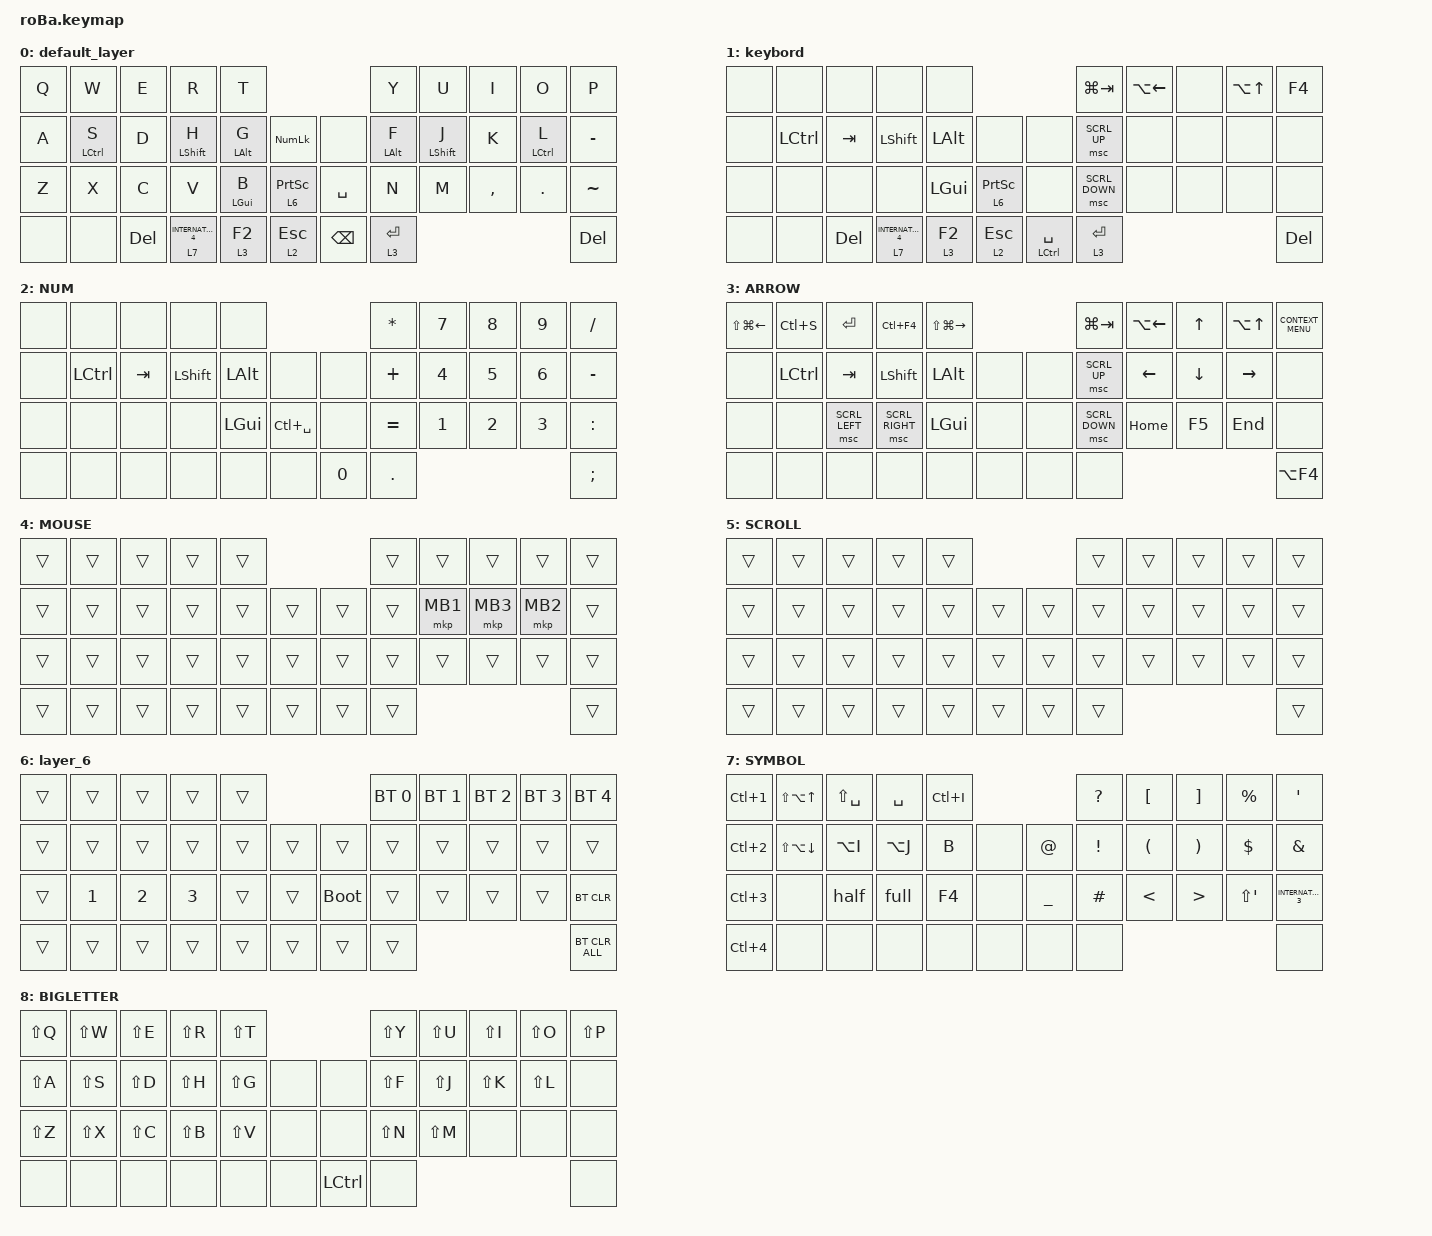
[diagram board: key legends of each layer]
#include <behaviors.dtsi>
#include <dt-bindings/zmk/bt.h>
#include <dt-bindings/zmk/keys.h>
#include <dt-bindings/zmk/pointing.h>

&mt {
    flavor = "balanced";
    quick-tap-ms = <0>;
};

&trackball {
    automouse-layer = <4>;
    scroll-layers = <5>;

    // arrows {
    //     layers = <3>;
    //     bindings =
    //         <&kp RIGHT_ARROW>,
    //         <&kp LEFT_ARROW>,
    //         <&kp UP_ARROW>,
    //         <&kp DOWN_ARROW>;
    //     tick = <10>;
    //     wait-ms = <5>;
    //     tap-ms = <5>;
    // };
};

/ {
    combos {
        compatible = "zmk,combos";

        tab {
            bindings = <&kp F7>;
            key-positions = <0 1>;
        };

        shift_tab {
            bindings = <&kp F8>;
            key-positions = <3 4>;
        };
    };

    macros {
        half: to_layer_0 {
            compatible = "zmk,behavior-macro";
            #binding-cells = <0>;
            bindings = <&to 0 &kp F14>;
            label = "TO_LAYER_0";
        };

        full: new_macro {
            compatible = "zmk,behavior-macro";
            #binding-cells = <0>;
            bindings = <&to 0 &kp F13>;
            label = "NEW_MACRO";
        };

        to_1lay: new_mac {
            compatible = "zmk,behavior-macro";
            #binding-cells = <0>;
            bindings = <&to 1 &kp F14>;
            label = "NEW_MAC";
        };
    };

    behaviors {
        lt_to_layer_0: lt_to_layer_0 {
            compatible = "zmk,behavior-hold-tap";
            label = "LAYER_TAP_TO_0";
            bindings = <&mo>, <&half>;

            #binding-cells = <2>;
            tapping-term-ms = <200>;
        };
    };

    keymap {
        compatible = "zmk,keymap";

        default_layer {
            bindings = <
&kp Q  &kp W        &kp E       &kp R                  &kp T                                              &kp Y           &kp U         &kp I      &kp O        &kp P
&kp A  &mt LCTRL S  &kp D       &mt LEFT_SHIFT H       &mt LEFT_ALT G  &kp KP_NUMLOCK      &none          &mt LEFT_ALT F  &mt LSHIFT J  &kp K      &mt LCTRL L  &kp MINUS
&kp Z  &kp X        &kp C       &kp V                  &mt LEFT_GUI B  &lt 6 PSCRN         &kp SPACE      &kp N           &kp M         &kp COMMA  &kp DOT      &kp TILDE
&none  &none        &kp DELETE  &lt 7 INTERNATIONAL_4  &lt 3 F2        &lt 2 ESC           &kp BACKSPACE  &lt 3 ENTER                                           &kp DEL
            >;
        };

        keybord {
            bindings = <
&none  &none      &none       &none                  &none                                       &kp LG(TAB)     &kp LA(LEFT)  &none  &kp LA(UP)  &kp F4
&none  &kp LCTRL  &kp TAB     &kp LSHFT              &kp LALT  &none            &none            &msc SCRL_UP    &none         &none  &none       &none
&none  &none      &none       &none                  &kp LGUI  &lt 6 PSCRN      &none            &msc SCRL_DOWN  &none         &none  &none       &none
&none  &none      &kp DELETE  &lt 7 INTERNATIONAL_4  &lt 3 F2  &lt 2 ESC        &mt LCTRL SPACE  &lt 3 ENTER                                      &kp DELETE
            >;
        };

        NUM {
            bindings = <
&none  &none      &none    &none      &none                                      &kp ASTERISK  &kp N7  &kp N8  &kp N9  &kp SLASH
&none  &kp LCTRL  &kp TAB  &kp LSHFT  &kp LALT  &none              &none         &kp PLUS      &kp N4  &kp N5  &kp N6  &kp MINUS
&none  &none      &none    &none      &kp LGUI  &kp LC(SPACE)      &none         &kp EQUAL     &kp N1  &kp N2  &kp N3  &kp COLON
&none  &none      &none    &none      &none     &none              &kp NUMBER_0  &kp PERIOD                            &kp SEMICOLON
            >;
        };

        ARROW {
            bindings = <
&kp LS(LG(LEFT_ARROW))  &kp LC(S)  &kp ENTER       &kp LC(F4)       &kp LS(LG(RIGHT))                    &kp LG(TAB)     &kp LA(LEFT)  &kp UP    &kp LA(UP)  &kp K_CONTEXT_MENU
&none                   &kp LCTRL  &kp TAB         &kp LEFT_SHIFT   &kp LEFT_ALT       &none      &none  &msc SCRL_UP    &kp LEFT      &kp DOWN  &kp RIGHT   &none
&none                   &none      &msc SCRL_LEFT  &msc SCRL_RIGHT  &kp LEFT_GUI       &none      &none  &msc SCRL_DOWN  &kp HOME      &kp F5    &kp END     &none
&none                   &none      &none           &none            &none              &none      &none  &none                                               &kp LA(F4)
            >;
        };

        MOUSE {
            bindings = <
&trans  &trans  &trans  &trans  &trans                      &trans  &trans    &trans    &trans    &trans
&trans  &trans  &trans  &trans  &trans  &trans      &trans  &trans  &mkp MB1  &mkp MB3  &mkp MB2  &trans
&trans  &trans  &trans  &trans  &trans  &trans      &trans  &trans  &trans    &trans    &trans    &trans
&trans  &trans  &trans  &trans  &trans  &trans      &trans  &trans                                &trans
            >;
        };

        SCROLL {
            bindings = <
&trans  &trans  &trans  &trans  &trans                      &trans  &trans  &trans  &trans  &trans
&trans  &trans  &trans  &trans  &trans  &trans      &trans  &trans  &trans  &trans  &trans  &trans
&trans  &trans  &trans  &trans  &trans  &trans      &trans  &trans  &trans  &trans  &trans  &trans
&trans  &trans  &trans  &trans  &trans  &trans      &trans  &trans                          &trans
            >;
        };

        layer_6 {
            bindings = <
&trans  &trans        &trans        &trans        &trans                           &bt BT_SEL 0  &bt BT_SEL 1  &bt BT_SEL 2  &bt BT_SEL 3  &bt BT_SEL 4
&trans  &trans        &trans        &trans        &trans  &trans      &trans       &trans        &trans        &trans        &trans        &trans
&trans  &kp NUMBER_1  &kp NUMBER_2  &kp NUMBER_3  &trans  &trans      &bootloader  &trans        &trans        &trans        &trans        &bt BT_CLR
&trans  &trans        &trans        &trans        &trans  &trans      &trans       &trans                                                  &bt BT_CLR_ALL
            >;
        };

        SYMBOL {
            bindings = <
&kp LC(NUMBER_1)  &kp LS(LA(UP))    &kp LS(SPACE)  &kp SPACE  &kp LC(I)                             &kp QUESTION     &kp LEFT_BRACKET      &kp RIGHT_BRACKET      &kp PERCENT  &kp SQT
&kp LC(NUMBER_2)  &kp LS(LA(DOWN))  &kp LA(I)      &kp LA(J)  &kp B      &none      &kp AT_SIGN     &kp EXCLAMATION  &kp LEFT_PARENTHESIS  &kp RIGHT_PARENTHESIS  &kp DOLLAR   &kp AMPERSAND
&kp LC(NUMBER_3)  &none             &half          &full      &kp F4     &none      &kp UNDERSCORE  &kp HASH         &kp LESS_THAN         &kp GREATER_THAN       &kp LS(SQT)  &kp INTERNATIONAL_3
&kp LC(NUMBER_4)  &none             &none          &none      &none      &none      &none           &none                                                                      &none
            >;
        };

        BIGLETTER {
            bindings = <
&kp LS(Q)  &kp LS(W)  &kp LS(E)  &kp LS(R)  &kp LS(T)                        &kp LS(Y)  &kp LS(U)  &kp LS(I)  &kp LS(O)  &kp LS(P)
&kp LS(A)  &kp LS(S)  &kp LS(D)  &kp LS(H)  &kp LS(G)  &none      &none      &kp LS(F)  &kp LS(J)  &kp LS(K)  &kp LS(L)  &none
&kp LS(Z)  &kp LS(X)  &kp LS(C)  &kp LS(B)  &kp LS(V)  &none      &none      &kp LS(N)  &kp LS(M)  &none      &none      &none
&none      &none      &none      &none      &none      &none      &kp LCTRL  &none                                       &none
            >;
        };
    };
};
